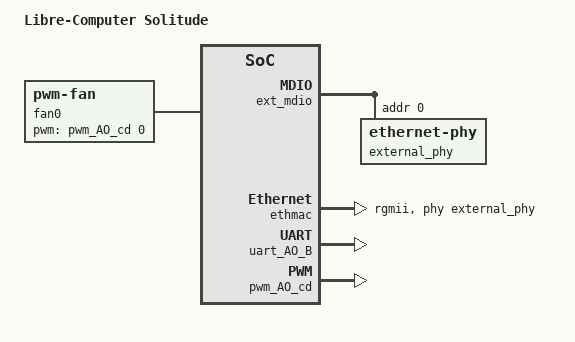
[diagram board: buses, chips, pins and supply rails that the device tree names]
#include "sm1_s905x3_ac214.dts"
#include "coreelec_sm1_common.dtsi"

/ {
	model = "Libre-Computer Solitude";
	coreelec-dt-id = "sm1_s905d3_libre_computer_solitude";

	/delete-node/ memory@00000000;

	bt-dev {
		status = "disabled";
	};

	aml_wifi {
		status = "disabled";
	};

	gpioleds {
		/* green led, system running */
		sys_led {
			gpios=<&gpio GPIOX_3 GPIO_ACTIVE_LOW>;
		};

		/* orange led, standby */
		orange_led {
			label = "orange_led";
			gpios = <&gpio GPIOX_6 GPIO_ACTIVE_HIGH>;
			linux,default-trigger = "default-on";
			retain-state-shutdown;
		};

		/* blue led, disk */
		blue_led {
			label = "blue_led";
			gpios = <&gpio GPIOX_7 GPIO_ACTIVE_LOW>;
			linux,default-trigger = "mmc0";
		};
	};

	auge_sound {
		avout_mute-gpios = <&gpio GPIOX_0 GPIO_ACTIVE_HIGH>;
	};

	fan0: pwm-fan {
		compatible = "pwm-fan";
		/* GPIOAO_6, 7J2, pin 7 */
		pwms = <&pwm_AO_cd 0 25000 0>;
		#cooling-cells = <2>;
		cooling-levels = <0 100 150 200 255>;
	};

	thermal-zones {
		soc_thermal: soc_thermal {
			trips {
				cpu_active: cpu-active {
					temperature = <50000>;
					hysteresis = <2000>;
					type = "active";
				};
				cpu_warm: cpu-warm {
					temperature = <60000>;
					hysteresis = <2000>;
					type = "active";
				};
			};

			cooling-maps {
				fan_cooling_map0 {
					trip = <&cpu_active>;
					cooling-device = <&fan0 THERMAL_NO_LIMIT 1>;
				};
				fan_cooling_map1 {
					trip = <&cpu_warm>;
					cooling-device = <&fan0 2 THERMAL_NO_LIMIT>;
				};
			};
		};
	};
};

&pinctrl_periphs {
	/delete-node/ spdifout;
};

&pinctrl_aobus {
	spdifout: spdifout {
		mux { /* 7J2, pin 32 */
			groups = "GPIOAO_11";
			function = "gpio_aobus";
		};
	};

	ao_b_uart_pins:ao_b_uart {
		mux {
			groups = "uart_ao_b_tx_8",
				"uart_ao_b_rx_9";
		};
	};
};

&ext_mdio {
	external_phy: ethernet-phy@0 {
		reg = <0>;
		max-speed = <1000>;
	};
};

&ethmac {
	pinctrl-0 = <&external_eth_pins>;
	pinctrl-names = "default";
	status = "okay";
	phy-mode = "rgmii";
	phy-handle = <&external_phy>;
	internal_phy = <0>;
	amlogic,tx-delay-ns = <2>;
};

&uart_A {
	status = "disabled";
};

&uart_AO_B {
	status = "okay";
};

&pwm_ef {
	status = "disabled";
};

&pwm_AO_cd {
	status = "okay";
	pinctrl-0 = <&pwm_ao_c_pins2>;
	pinctrl-names = "default";
};

&sd_emmc_a {
	 status = "disabled";
};
